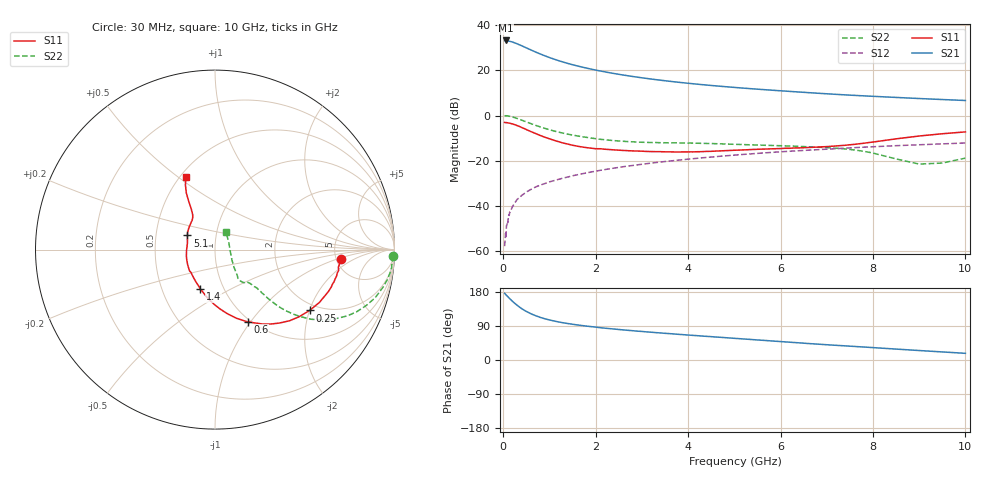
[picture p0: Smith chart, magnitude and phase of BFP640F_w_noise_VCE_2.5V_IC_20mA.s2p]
! Infineon Technologies  Discrete & RF Semiconductors
! BFP640F
! VCE =  2.5 V,  IC =  20 mA
! Common Emitter S-Parameters:  Apr 2013
# GHz  S  MA  R  50
!  f  S11  S21  S12  S22
! GHz  MAG  ANG  MAG  ANG  MAG  ANG  MAG  ANG
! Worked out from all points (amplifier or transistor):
!   99 points, 30 MHz to 10 GHz, reference 50 ohm
!   highest |S21| = 33.2 dB at 50 MHz (marker M1)
!   |S21| within 3 dB of that: start of sweep to 470.6 MHz
!   unconditionally stable (mu >= 1): 2.241 GHz to end of sweep
!   at 350 MHz: K = 0.36, MSG = 33.8 dB, |S12| = -36.2 dB
!   at 3.5 GHz: K = 1.05, MAG = 16.5 dB, |S12| = -20.3 dB
!   at 10 GHz: K = 1.05, MAG = 8.0 dB, |S12| = -12.1 dB
!   lowest NFmin = 0.82 dB at 450 MHz
!   S11 on the Smith chart (normalised r, x): 30 MHz: 5.53, -1.10; 250 MHz: 1.80, -2.01; 600 MHz: 0.97, -0.97; 1.4 GHz: 0.78, -0.36; 5.1 GHz: 0.73, +0.12; 10 GHz: 0.54, +0.53
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0.03  0.704 -4.1  45.21 176.1  0.0013 83.5  0.9898 -2.0
0.05  0.6983 -6.7  45.56 173.5  0.0025 121.7  0.9905 -3.7
0.1  0.6893 -13.6  44.7 167.0  0.0043 81.3  0.9801 -8.5
0.15  0.6733 -20.4  43.45 160.8  0.0074 80.7  0.9572 -12.9
0.2  0.6521 -26.8  42.05 154.9  0.0097 79.0  0.9313 -16.8
0.25  0.6271 -32.7  40.28 149.5  0.0117 79.2  0.8972 -20.4
0.3  0.6001 -38.5  38.53 144.5  0.014 76.4  0.8629 -23.6
0.4  0.544 -48.8  34.82 135.5  0.0172 73.4  0.7901 -28.8
0.5  0.4902 -57.7  31.28 128.2  0.0205 70.8  0.724 -32.8
0.6  0.4416 -65.7  28.11 122.0  0.0233 69.5  0.6621 -35.9
0.7  0.4012 -72.6  25.31 117.0  0.0264 68.8  0.6078 -38.0
0.8  0.3626 -79.3  22.94 112.5  0.029 68.3  0.5621 -39.6
0.9  0.3321 -85.1  20.89 108.8  0.0314 67.9  0.5209 -40.8
1.1  0.2834 -95.9  17.61 102.9  0.0365 67.5  0.4552 -42.1
1.4  0.2336 -110.5  14.15 96.2  0.0439 66.8  0.3874 -42.7
1.7  0.2025 -123.9  11.8 91.0  0.0515 66.3  0.3408 -42.5
2.4  0.1744 -150.6  8.473 81.7  0.0689 64.1  0.2792 -43.8
3.4  0.1591 -178.0  6.038 71.4  0.0939 60.3  0.2511 -46.5
5.1  0.1725 152.9  4.105 56.4  0.136 52.4  0.2302 -50.6
6.7  0.1988 132.6  3.16 42.7  0.1737 43.6  0.2022 -51.1
8.5  0.3055 118.6  2.512 28.8  0.2157 33.5  0.1101 -31.2
10  0.4352 111.9  2.149 17.6  0.2474 24.8  0.1146 58.6
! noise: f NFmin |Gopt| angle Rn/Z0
0.45  0.82  0.01  19  0.06
0.9  0.82  0.01  55  0.06
1.5  0.85  0.01  87  0.07
1.9  0.87  0.02  120  0.07
2.4  0.9  0.03  140  0.08
3.5  0.98  0.05  171  0.09
5.5  1.16  0.18  -132  0.12
10  1.64  0.41  -89  0.39
